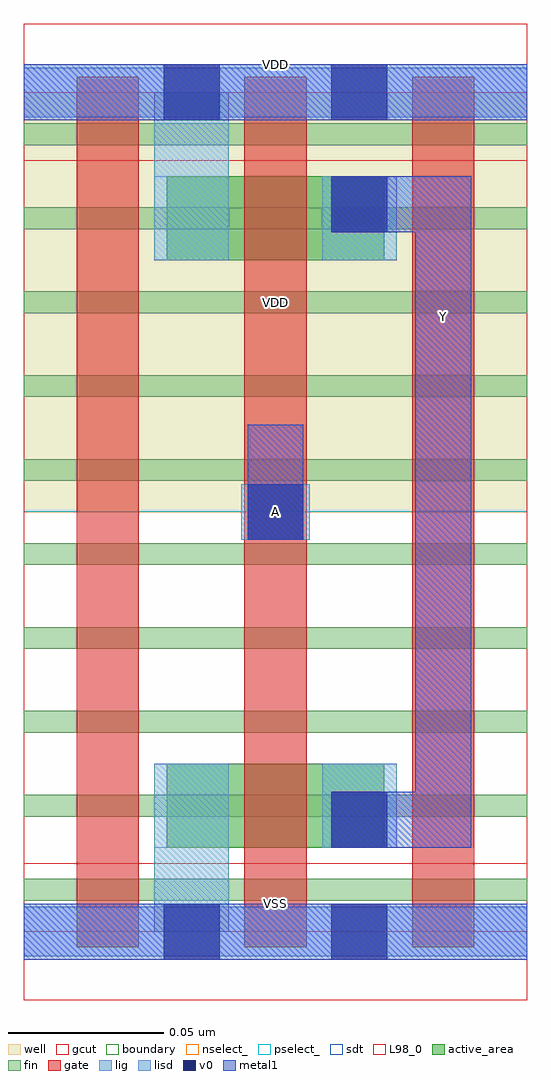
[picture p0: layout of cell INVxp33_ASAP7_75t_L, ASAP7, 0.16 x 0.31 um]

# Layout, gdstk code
import gdstk
lib = gdstk.Library(unit=1e-6, precision=2.5e-10)
def R(c, l, rs):  # rectangles x0, y0, x1, y1
    for r in rs: c.add(gdstk.rectangle(r[:2], r[2:], *l))
def A(c, l, x, y, w, h, nx, ny, dx, dy):  # array of equal rectangles
    R(c, l, [(x+i*dx, y+j*dy, x+i*dx+w, y+j*dy+h) for i in range(nx) for j in range(ny)])
def P(c, l, *ps):  # polygons
    for p in ps: c.add(gdstk.Polygon(p, *l))
well = (1, 0)
fin = (2, 0)
gate = (7, 0)
gcut = (10, 0)
active_area = (11, 0)
nselect_ = (12, 0)
pselect_ = (13, 0)
lig = (16, 0)
lisd = (17, 0)
v0 = (18, 0)
metal1 = (19, 0)
sdt = (88, 0)
L98_0 = (98, 0)
boundary = (100, 0)

invxp33_asap7_75t_l = lib.new_cell('INVxp33_ASAP7_75t_L')
R(invxp33_asap7_75t_l, well, [(0,0.135,0.162,0.27)])
A(invxp33_asap7_75t_l, fin, 0, 0.01, 0.162, 0.007, 1, 10, 0, 0.027)
A(invxp33_asap7_75t_l, gate, 0.017, -0.005, 0.02, 0.28, 3, 1, 0.054, 0)
R(invxp33_asap7_75t_l, gcut, [(0,-0.022,0.162,0.022), (0,0.248,0.162,0.292)])
R(invxp33_asap7_75t_l, active_area, [(0.046,0.027,0.116,0.054), (0.046,0.216,0.116,0.243)])
R(invxp33_asap7_75t_l, nselect_, [(0,0,0.162,0.135)])
R(invxp33_asap7_75t_l, pselect_, [(0,0.135,0.162,0.27)])
R(invxp33_asap7_75t_l, lig, [(0,-0.008,0.162,0.008), (0.07,0.126,0.092,0.144), (0,0.262,0.162,0.278)])
R(invxp33_asap7_75t_l, lisd, [(0.042,0,0.066,0.054), (0.096,0.027,0.12,0.054), (0.042,0.216,0.066,0.27), (0.096,0.216,0.12,0.243)])
R(invxp33_asap7_75t_l, v0, [(0.045,-0.009,0.063,0.009), (0.099,-0.009,0.117,0.009), (0.099,0.027,0.117,0.045), (0.072,0.126,0.09,0.144), (0.099,0.225,0.117,0.243), (0.045,0.261,0.063,0.279), (0.099,0.261,0.117,0.279)])
R(invxp33_asap7_75t_l, metal1, [(0,-0.009,0.162,0.009), (0.099,0.027,0.117,0.045), (0.072,0.126,0.09,0.144), (0.072,0.126,0.09,0.163), (0.099,0.225,0.117,0.243), (0,0.261,0.162,0.279)])
P(invxp33_asap7_75t_l, metal1, [(0.099,0.243),(0.099,0.225),(0.126,0.225),(0.126,0.045),(0.099,0.045),(0.099,0.027),(0.144,0.027),(0.144,0.243)])
R(invxp33_asap7_75t_l, sdt, [(0.042,0.027,0.066,0.054), (0.096,0.027,0.12,0.054), (0.042,0.216,0.066,0.243), (0.096,0.216,0.12,0.243)])
R(invxp33_asap7_75t_l, L98_0, [(0,0,0.162,0.27)])
R(invxp33_asap7_75t_l, boundary, [(0,0,0.162,0.27)])
invxp33_asap7_75t_l.add(gdstk.Label('VDD', (0.081,0.2025), layer=1, texttype=251))
invxp33_asap7_75t_l.add(gdstk.Label('VSS', (0.081,-0.0675), layer=3, texttype=251))
invxp33_asap7_75t_l.add(gdstk.Label('VSS', (0.081,0.009), layer=19, texttype=251))
invxp33_asap7_75t_l.add(gdstk.Label('VDD', (0.081,0.279), layer=19, texttype=251))
invxp33_asap7_75t_l.add(gdstk.Label('Y', (0.135,0.198), layer=19, texttype=251))
invxp33_asap7_75t_l.add(gdstk.Label('A', (0.081,0.135), layer=19, texttype=251))

lib.write_gds('INVxp33_ASAP7_75t_L.gds')
